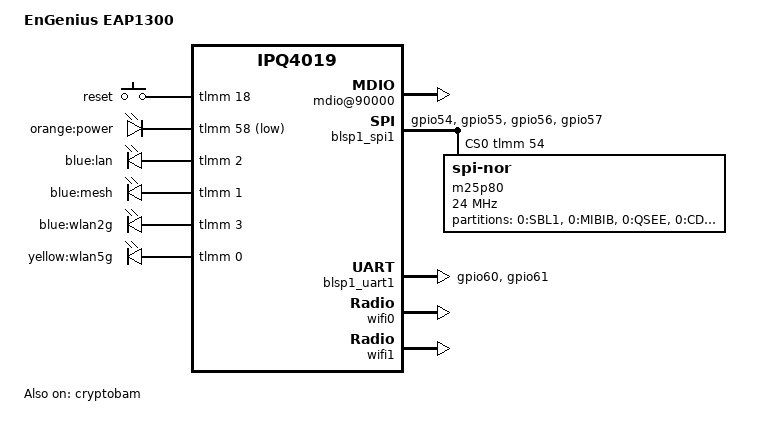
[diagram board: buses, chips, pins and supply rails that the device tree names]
// SPDX-License-Identifier: GPL-2.0-or-later

#include "qcom-ipq4019.dtsi"
#include <dt-bindings/gpio/gpio.h>
#include <dt-bindings/input/input.h>
#include <dt-bindings/soc/qcom,tcsr.h>

/ {
	model = "EnGenius EAP1300";
	compatible = "engenius,eap1300";

	soc {
		rng@22000 {
			status = "okay";
		};

		mdio@90000 {
			status = "okay";
		};

		ess-psgmii@98000 {
			status = "okay";
		};

		tcsr@1949000 {
			compatible = "qcom,tcsr";
			reg = <0x1949000 0x100>;
			qcom,wifi_glb_cfg = <TCSR_WIFI_GLB_CFG>;
		};

		ess_tcsr@1953000 {
			compatible = "qcom,tcsr";
			reg = <0x1953000 0x1000>;
			qcom,ess-interface-select = <TCSR_ESS_PSGMII>;
		};

		tcsr@1957000 {
			compatible = "qcom,tcsr";
			reg = <0x1957000 0x100>;
			qcom,wifi_noc_memtype_m0_m2 = <TCSR_WIFI_NOC_MEMTYPE_M0_M2>;
		};

		crypto@8e3a000 {
			status = "okay";
		};

		watchdog@b017000 {
			status = "okay";
		};

		ess-switch@c000000 {
			status = "okay";
		};

		edma@c080000 {
			status = "okay";
		};
	};

	keys {
		compatible = "gpio-keys";

		reset {
			label = "reset";
			gpios = <&tlmm 18 GPIO_ACTIVE_HIGH>;
			linux,code = <KEY_RESTART>;
		};
	};

	aliases {
		led-boot = &power;
		led-failsafe = &power;
		led-running = &power;
		led-upgrade = &power;
	};

	leds {
		compatible = "gpio-leds";

		power: orange {
			label = "orange:power";
			gpios = <&tlmm 58 GPIO_ACTIVE_LOW>;
		};

		lan {
			label = "blue:lan";
			gpios = <&tlmm 2 GPIO_ACTIVE_HIGH>;
		};

		mesh {
			label = "blue:mesh";
			gpios = <&tlmm 1 GPIO_ACTIVE_HIGH>;
		};

		wlan2g {
			label = "blue:wlan2g";
			gpios = <&tlmm 3 GPIO_ACTIVE_HIGH>;
		};

		wlan5g {
			label = "yellow:wlan5g";
			gpios = <&tlmm 0 GPIO_ACTIVE_HIGH>;
		};
	};
};

&tlmm {
	serial_pins: serial_pinmux {
		mux {
			pins = "gpio60", "gpio61";
			function = "blsp_uart0";
			bias-disable;
		};
	};

	spi_0_pins: spi_0_pinmux {
		pin {
			function = "blsp_spi0";
			pins = "gpio54", "gpio55", "gpio56", "gpio57";
			drive-strength = <12>;
			bias-disable;
		};

		pin_cs {
			function = "gpio";
			pins = "gpio54";
			drive-strength = <2>;
			bias-disable;
			output-high;
		};
	};
};

&blsp_dma {
	status = "okay";
};

&blsp1_spi1 {
	pinctrl-0 = <&spi_0_pins>;
	pinctrl-names = "default";
	status = "okay";
	cs-gpios = <&tlmm 54 GPIO_ACTIVE_HIGH>;

	m25p80@0 {
		compatible = "jedec,spi-nor";
		reg = <0>;
		spi-max-frequency = <24000000>;
		partitions {
			compatible = "fixed-partitions";
			#address-cells = <1>;
			#size-cells = <1>;

			partition@0 {
				label = "0:SBL1";
				reg = <0x00000000 0x00040000>;
				read-only;
			};

			partition1@40000 {
				label = "0:MIBIB";
				reg = <0x00040000 0x00020000>;
				read-only;
			};

			partition2@60000 {
				label = "0:QSEE";
				reg = <0x00060000 0x00060000>;
				read-only;
			};

			partition3@c0000 {
				label = "0:CDT";
				reg = <0x000c0000 0x00010000>;
				read-only;
			};

			partition4@d0000 {
				label = "0:DDRPARAMS";
				reg = <0x000d0000 0x00010000>;
				read-only;
			};

			partition5@e0000 {
				label = "0:APPSBLENV";
				reg = <0x000e0000 0x00010000>;
				read-only;
			};

			partition6@f0000 {
				label = "0:APPSBL";
				reg = <0x000f0000 0x00090000>;
				read-only;
			};

			partition7@180000 {
				label = "0:ART";
				reg = <0x00180000 0x00010000>;
				read-only;
			};

			partition8@190000 {
				compatible = "denx,fit";
				label = "firmware";
				reg = <0x190000 0x1dc0000>;
			};

			partition9@1f50000 {
				label = "u-boot-env";
				reg = <0x01f50000 0x00010000>;
			};

			partition10@1f60000 {
				label = "userconfig";
				reg = <0x01f60000 0x000a0000>;
			};
		};
	};
};

&blsp1_uart1 {
	pinctrl-0 = <&serial_pins>;
	pinctrl-names = "default";
	status = "okay";
};

&cryptobam {
	status = "okay";
};

&wifi0 {
	status = "okay";
	qcom,ath10k-calibration-variant = "EnGenius-EAP1300";
};

&wifi1 {
	status = "okay";
	qcom,ath10k-calibration-variant = "EnGenius-EAP1300";
};
